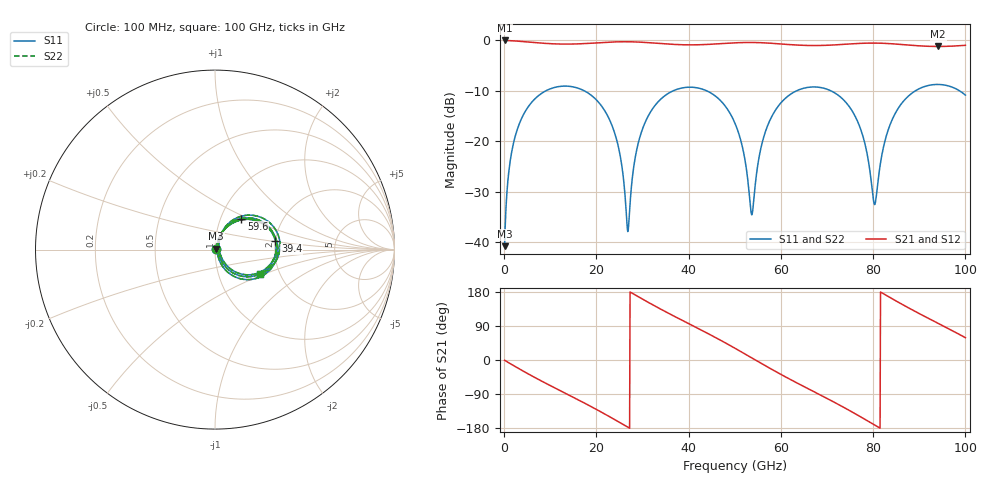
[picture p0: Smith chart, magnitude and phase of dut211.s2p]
! Touchstone file exported from HFSS 2026.1.0
!  File:  C:/ffzhzh/LocalFiles/Ansys_Project_Files/temp_train_TSV_RDL_211_1783660708_33328.aedt
!  Generated:  01:26:03 PM Jul 10, 2026
!  Design:  TSV_RDL
!  Project:  temp_train_TSV_RDL_211_1783660708_33328
! Variables:
!  h_bsmrdl = 3.52um
!  h_ox = 20um
!  h_rdl = 5um
!  h_sub = 51.54um
!  h_tmrdl = 4.84um
!  h_tsv = 51.54um
!  h_via = 3um
!  l_bsmrdl = 112.69um
!  l_sub = 2419.44um
!  l_tmrdl = 381.8um
!  m_sub = 200um
!  pitch = 44.31um
!  r_tsv = 8.42um
!  s_tmrdl = 10um
!  w_bsmrdl = 22.9um
!  w_sub = 500um
!  w_tmrdl = 28.49um
!  x_tsv_center1 = 396.045um
!  x_tsv_center2 = 531.635um
!  x_tsv_center3 = 941.925um
!  x_tsv_center4 = 1077.515um
!  x_tsv_center5 = 1487.805um
!  x_tsv_center6 = 1623.395um
# GHz S MA R 50.000000
! Terminal data exported
! Port[1] = TM_RDL1_1_T1
! Port[2] = TM_RDL5_1_T1
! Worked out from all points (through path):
!   1000 points, 100 MHz to 100 GHz, reference 50 ohm
!   highest |S21| = -0.06 dB at 100 MHz (marker M1); lowest = -1.3 dB at 94.1 GHz (marker M2)
!   group delay of S21, straight-line fit = 18.4 ps
!   lowest |S11| = -40.8 dB at 100 MHz (marker M3), VSWR 1.02, Z = 50.7 + j0.559 ohm
!   |S11| at or under -10 dB: 17.29 GHz to 36.74 GHz (19.45 GHz wide, 72 % of centre); 43.82 GHz to 63.49 GHz (19.67 GHz wide, 36.7 % of centre); 70.75 GHz to 89.24 GHz (18.49 GHz wide, 23.1 % of centre) (the widest 3 of 5)
!   |S22| runs from -40.8 to -8.8 dB; largest |S21 - S12| = 3.7e-12
!   S11 on the Smith chart (normalised r, x): 100 MHz: 1.01, +0.01; 39.4 GHz: 2.00, +0.22; 59.6 GHz: 1.25, +0.46; 100 GHz: 1.58, -0.47
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0.1  0.009093 37.3  0.9928 -0.8  0.9928 -0.8  0.009093 37.3
! Gamma 0 0 0 0
! Port Impedance 50 0 50 0
1.6  0.07645 70.3  0.9863 -11.6  0.9863 -11.6  0.07645 70.3
4.4  0.1906 54.1  0.9654 -31.2  0.9654 -31.2  0.1906 54.0
10.4  0.3342 16.9  0.9207 -70.0  0.9207 -70.0  0.3342 16.9
16.8  0.324 -21.3  0.9213 -109.8  0.9213 -109.8  0.324 -21.3
23.6  0.1343 -61.9  0.9591 -154.7  0.9591 -154.7  0.1343 -62.1
25.3  0.06578 -67.8  0.9638 -166.6  0.9638 -166.6  0.06572 -68.1
26.8  0.01268 -2.8  0.9641 -177.1  0.9641 -177.1  0.01234 -2.9
29.2  0.1004 67.3  0.9567 166.1  0.9567 166.1  0.1004 67.4
33.4  0.2454 43.9  0.9288 137.8  0.9288 137.8  0.2454 43.9
39.4  0.3404 8.0  0.8988 99.7  0.8988 99.7  0.3404 8.0
44.9  0.298 -24.5  0.9109 65.3  0.9109 65.3  0.2981 -24.6
50.1  0.148 -54.4  0.9407 30.6  0.9407 30.6  0.148 -54.8
53.7  0.0186 5.4  0.9481 5.4  0.9481 5.4  0.01758 5.0
56.1  0.1026 67.1  0.9414 -11.4  0.9414 -11.4  0.1023 67.6
59.6  0.2272 49.7  0.9193 -35.3  0.9193 -35.3  0.227 49.9
66.7  0.3434 7.9  0.8844 -80.8  0.8844 -80.8  0.3433 8.0
75.8  0.1868 -45.0  0.9219 -139.6  0.9219 -139.6  0.1867 -44.9
80.3  0.02348 5.0  0.9351 -171.3  0.9351 -171.3  0.02344 5.1
83.4  0.1346 66.0  0.9247 166.7  0.9247 166.7  0.1346 66.0
94.1  0.364 5.6  0.8657 96.6  0.8657 96.6  0.364 5.6
100  0.2854 -28.7  0.889 58.9  0.889 58.9  0.2854 -28.6
